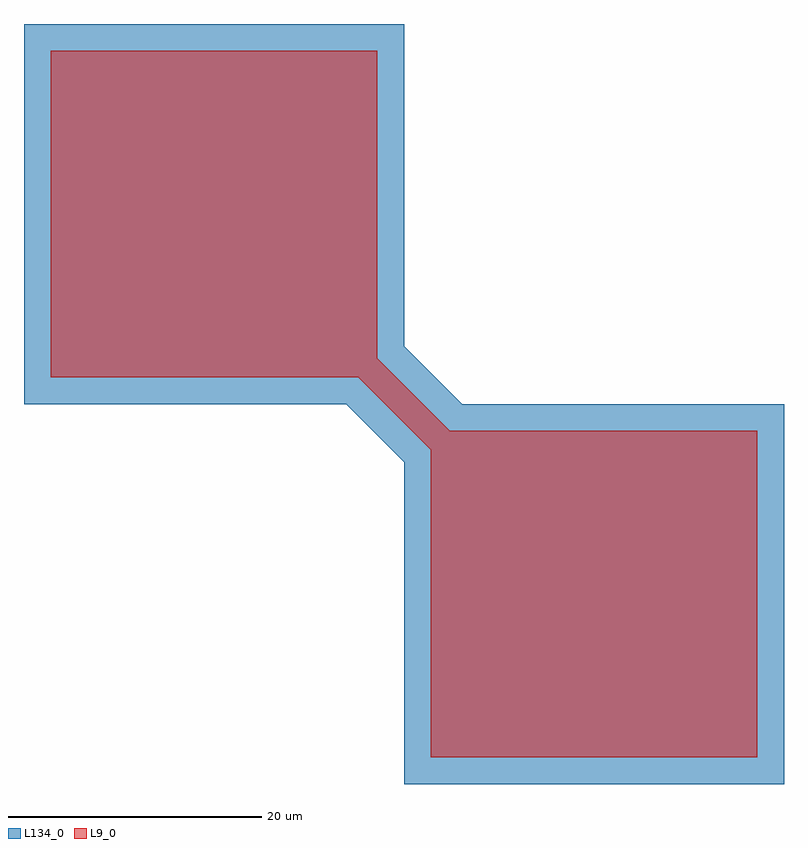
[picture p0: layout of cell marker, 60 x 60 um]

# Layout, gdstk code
import gdstk
lib = gdstk.Library(unit=1e-6, precision=1e-09)
def R(c, l, rs):  # rectangles x0, y0, x1, y1
    for r in rs: c.add(gdstk.rectangle(r[:2], r[2:], *l))
def P(c, l, *ps):  # polygons
    for p in ps: c.add(gdstk.Polygon(p, *l))
L9_0 = (9, 0)
L134_0 = (134, 0)

marker = lib.new_cell('marker')
R(marker, L9_0, [(37.1,7.1,62.9,32.9), (7.1,37.1,32.9,62.9)])
P(marker, L9_0, [(37.1,31.4),(31.4,37.1),(32.9,38.6),(38.6,32.9)])
R(marker, L134_0, [(35,5,65,35), (5,35,35,65)])
P(marker, L134_0, [(37.1,28.3),(28.3,37.1),(32.9,41.7),(41.7,32.9)])

lib.write_gds('marker.gds')
